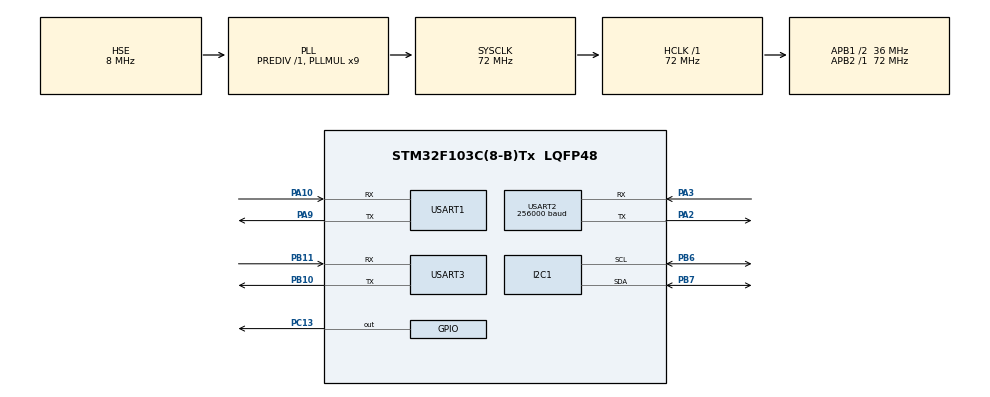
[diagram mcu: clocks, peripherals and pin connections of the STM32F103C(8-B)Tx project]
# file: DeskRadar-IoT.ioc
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Dma.Request0=USART2_RX
Dma.USART2_RX.0.Direction=DMA_PERIPH_TO_MEMORY
Dma.USART2_RX.0.Instance=DMA1_Channel6
Dma.USART2_RX.0.MemDataAlignment=DMA_MDATAALIGN_BYTE
Dma.USART2_RX.0.MemInc=DMA_MINC_ENABLE
Dma.USART2_RX.0.Mode=DMA_NORMAL
Dma.USART2_RX.0.PeriphDataAlignment=DMA_PDATAALIGN_BYTE
Dma.USART2_RX.0.PeriphInc=DMA_PINC_DISABLE
Dma.USART2_RX.0.Priority=DMA_PRIORITY_LOW
FREERTOS.BinarySemaphores01=testSem,Dynamic,NULL,Available
FREERTOS.Mutexes01=uartMutex,Dynamic,NULL,Available
FREERTOS.Queues01=radarQueue,16,RadarData_t,0,Dynamic,NULL,NULL
FREERTOS.Tasks01=RadarTask,24,128,StartRadarTask,Default,NULL,Dynamic,NULL,NULL;DisplayTask,16,128,StartDisplayTask,Default,NULL,Dynamic,NULL,NULL;CloudTask,8,256,StartCloudTask,Default,NULL,Dynamic,NULL,NULL
FREERTOS.configTOTAL_HEAP_SIZE=6144
I2C1.I2C_Mode=I2C_Fast
Mcu.Family=STM32F1
Mcu.Name=STM32F103C(8-B)Tx
Mcu.Package=LQFP48
NVIC.DMA1_Channel6_IRQn=true\:5\:0\:false\:false\:true\:true\:false\:true\:true
NVIC.PriorityGroup=NVIC_PRIORITYGROUP_4
NVIC.TIM4_IRQn=true\:15\:0\:false\:false\:true\:false\:false\:true\:true
NVIC.TimeBase=TIM4_IRQn
NVIC.TimeBaseIP=TIM4
NVIC.USART2_IRQn=true\:5\:0\:false\:false\:true\:true\:true\:true\:true
PA10.Mode=Asynchronous
PA10.Signal=USART1_RX
PA13.Mode=Serial_Wire
PA13.Signal=SYS_JTMS-SWDIO
PA14.Mode=Serial_Wire
PA14.Signal=SYS_JTCK-SWCLK
PA2.Mode=Asynchronous
PA2.Signal=USART2_TX
PA3.Mode=Asynchronous
PA3.Signal=USART2_RX
PA9.Mode=Asynchronous
PA9.Signal=USART1_TX
PB10.Mode=Asynchronous
PB10.Signal=USART3_TX
PB11.Mode=Asynchronous
PB11.Signal=USART3_RX
PB6.Mode=I2C
PB6.Signal=I2C1_SCL
PB7.Mode=I2C
PB7.Signal=I2C1_SDA
PC13-TAMPER-RTC.PinState=GPIO_PIN_SET
PC13-TAMPER-RTC.Signal=GPIO_Output
PD0-OSC_IN.Mode=HSE-External-Oscillator
PD0-OSC_IN.Signal=RCC_OSC_IN
PD1-OSC_OUT.Mode=HSE-External-Oscillator
PD1-OSC_OUT.Signal=RCC_OSC_OUT
ProjectManager.HeapSize=0x200
ProjectManager.StackSize=0x400
ProjectManager.TargetToolchain=CMake
RCC.AHBFreq_Value=72000000
RCC.APB1CLKDivider=RCC_HCLK_DIV2
RCC.APB1Freq_Value=36000000
RCC.APB1TimFreq_Value=72000000
RCC.APB2Freq_Value=72000000
RCC.APB2TimFreq_Value=72000000
RCC.HCLKFreq_Value=72000000
RCC.PLLMUL=RCC_PLL_MUL9
RCC.PLLSourceVirtual=RCC_PLLSOURCE_HSE
RCC.SYSCLKFreq_VALUE=72000000
RCC.SYSCLKSource=RCC_SYSCLKSOURCE_PLLCLK
RCC.USBFreq_Value=72000000
USART1.VirtualMode=VM_ASYNC
USART2.BaudRate=256000
USART2.VirtualMode=VM_ASYNC
USART3.VirtualMode=VM_ASYNC
VP_FREERTOS_VS_CMSIS_V2.Mode=CMSIS_V2
VP_SYS_VS_tim4.Mode=TIM4
board=custom

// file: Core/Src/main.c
/* USER CODE BEGIN Header */
/**
  ******************************************************************************
  * @file           : main.c
  * @brief          : Main program body
  ******************************************************************************
  * @attention
  *
  * Copyright (c) 2026 STMicroelectronics.
  * All rights reserved.
  *
  * This software is licensed under terms that can be found in the LICENSE file
  * in the root directory of this software component.
  * If no LICENSE file comes with this software, it is provided AS-IS.
  *
  ******************************************************************************
  */
/* USER CODE END Header */
#include "main.h"
#include "cmsis_os.h"
#include "dma.h"
#include "i2c.h"
#include "usart.h"
#include "gpio.h"

/* USER CODE BEGIN Includes */
#include "oled.h"
#include "radar.h"
#include "esp01s.h"
#include <stdio.h>

/* USER CODE END Includes */

void SystemClock_Config(void);
void MX_FREERTOS_Init(void);

int main(void)
{

  /* MCU Configuration--------------------------------------------------------*/

  /* Reset of all peripherals, Initializes the Flash interface and the Systick. */
  HAL_Init();

  /* Configure the system clock */
  SystemClock_Config();

  /* Initialize all configured peripherals */
  MX_GPIO_Init();
  MX_DMA_Init();
  MX_I2C1_Init();
  MX_USART1_UART_Init();
  MX_USART2_UART_Init();
  MX_USART3_UART_Init();
  /* USER CODE BEGIN 2 */
  HAL_Delay(50);
  OLED_Init();

  /* USER CODE END 2 */

  /* Init scheduler */
  osKernelInitialize();  /* Call init function for freertos objects (in cmsis_os2.c) */
  MX_FREERTOS_Init();

  /* Start scheduler */
  osKernelStart();

  /* We should never get here as control is now taken by the scheduler */

  /* Infinite loop */
  /* USER CODE BEGIN WHILE */
 uint32_t last_post_time = 0; // 记录上次发往云端的时间

  while (1)
  {
    /* USER CODE END WHILE */

  }
}

void SystemClock_Config(void)
{
  RCC_OscInitTypeDef RCC_OscInitStruct = {0};
  RCC_ClkInitTypeDef RCC_ClkInitStruct = {0};

  /** Initializes the RCC Oscillators according to the specified parameters
  * in the RCC_OscInitTypeDef structure.
  */
  RCC_OscInitStruct.OscillatorType = RCC_OSCILLATORTYPE_HSE;
  RCC_OscInitStruct.HSEState = RCC_HSE_ON;
  RCC_OscInitStruct.HSEPredivValue = RCC_HSE_PREDIV_DIV1;
  RCC_OscInitStruct.HSIState = RCC_HSI_ON;
  RCC_OscInitStruct.PLL.PLLState = RCC_PLL_ON;
  RCC_OscInitStruct.PLL.PLLSource = RCC_PLLSOURCE_HSE;
  RCC_OscInitStruct.PLL.PLLMUL = RCC_PLL_MUL9;
  if (HAL_RCC_OscConfig(&RCC_OscInitStruct) != HAL_OK)
  {
    Error_Handler();
  }

  /** Initializes the CPU, AHB and APB buses clocks
  */
  RCC_ClkInitStruct.ClockType = RCC_CLOCKTYPE_HCLK|RCC_CLOCKTYPE_SYSCLK
                              |RCC_CLOCKTYPE_PCLK1|RCC_CLOCKTYPE_PCLK2;
  RCC_ClkInitStruct.SYSCLKSource = RCC_SYSCLKSOURCE_PLLCLK;
  RCC_ClkInitStruct.AHBCLKDivider = RCC_SYSCLK_DIV1;
  RCC_ClkInitStruct.APB1CLKDivider = RCC_HCLK_DIV2;
  RCC_ClkInitStruct.APB2CLKDivider = RCC_HCLK_DIV1;

  if (HAL_RCC_ClockConfig(&RCC_ClkInitStruct, FLASH_LATENCY_2) != HAL_OK)
  {
    Error_Handler();
  }
}

void HAL_TIM_PeriodElapsedCallback(TIM_HandleTypeDef *htim)
{
  if (htim->Instance == TIM4)
  {
    HAL_IncTick();
  }
}

void Error_Handler(void)
{
  __disable_irq();
  while (1)
  {
  }
}

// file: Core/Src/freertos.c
/* USER CODE BEGIN Header */
/**
  ******************************************************************************
  * File Name          : freertos.c
  * Description        : Code for freertos applications
  ******************************************************************************
  * @attention
  *
  * Copyright (c) 2026 STMicroelectronics.
  * All rights reserved.
  *
  * This software is licensed under terms that can be found in the LICENSE file
  * in the root directory of this software component.
  * If no LICENSE file comes with this software, it is provided AS-IS.
  *
  ******************************************************************************
  */
/* USER CODE END Header */

#include "FreeRTOS.h"
#include "task.h"
#include "main.h"
#include "cmsis_os.h"

/* USER CODE BEGIN Includes */
#include <stdint.h>
#include <stdio.h>
#include "queue.h"
#include "oled.h"
#include "radar.h"
#include "esp01s.h"
/* USER CODE END Includes */

/* USER CODE BEGIN Variables */
typedef enum {
    SEC_SAFE = 0,    // 安全：无入侵
    SEC_SUSPECT,     // 疑似：雷达检测到目标，进入时间窗口确认
    SEC_ALERT        // 报警：确认入侵！
} Security_Status_t;

typedef struct {
    uint8_t raw_state;       // 雷达原始状态 (0/1/2/3)
    uint16_t dist;           // 目标距离 (cm)
    Security_Status_t sec_level; // 安防定性状态
} RadarData_t;

// 用于通知 CloudTask 立即上报告警的事件标志
volatile uint8_t g_need_instant_post = 0;

/* USER CODE END Variables */
/* Definitions for RadarTask */
osThreadId_t RadarTaskHandle;
const osThreadAttr_t RadarTask_attributes = {
  .name = "RadarTask",
  .stack_size = 128 * 4,
  .priority = (osPriority_t) osPriorityNormal,
};
/* Definitions for DisplayTask */
osThreadId_t DisplayTaskHandle;
const osThreadAttr_t DisplayTask_attributes = {
  .name = "DisplayTask",
  .stack_size = 128 * 4,
  .priority = (osPriority_t) osPriorityBelowNormal,
};
/* Definitions for CloudTask */
osThreadId_t CloudTaskHandle;
const osThreadAttr_t CloudTask_attributes = {
  .name = "CloudTask",
  .stack_size = 256 * 4,
  .priority = (osPriority_t) osPriorityLow,
};
/* Definitions for radarQueue */
osMessageQueueId_t radarQueueHandle;
const osMessageQueueAttr_t radarQueue_attributes = {
  .name = "radarQueue"
};
/* Definitions for uartMutex */
osMutexId_t uartMutexHandle;
const osMutexAttr_t uartMutex_attributes = {
  .name = "uartMutex"
};
/* Definitions for testSem */
osSemaphoreId_t testSemHandle;
const osSemaphoreAttr_t testSem_attributes = {
  .name = "testSem"
};

void StartRadarTask(void *argument);
void StartDisplayTask(void *argument);
void StartCloudTask(void *argument);

void MX_FREERTOS_Init(void); /* (MISRA C 2004 rule 8.1) */

void MX_FREERTOS_Init(void) {
  /* Create the mutex(es) */
  /* creation of uartMutex */
  uartMutexHandle = osMutexNew(&uartMutex_attributes);

  /* Create the semaphores(s) */
  /* creation of testSem */
  testSemHandle = osSemaphoreNew(1, 1, &testSem_attributes);

  /* Create the queue(s) */
  /* creation of radarQueue */
  radarQueueHandle = osMessageQueueNew (16, sizeof(RadarData_t), &radarQueue_attributes);

  /* Create the thread(s) */
  /* creation of RadarTask */
  RadarTaskHandle = osThreadNew(StartRadarTask, NULL, &RadarTask_attributes);

  /* creation of DisplayTask */
  DisplayTaskHandle = osThreadNew(StartDisplayTask, NULL, &DisplayTask_attributes);

  /* creation of CloudTask */
  CloudTaskHandle = osThreadNew(StartCloudTask, NULL, &CloudTask_attributes);

}

void StartRadarTask(void *argument)
{
  /* USER CODE BEGIN StartRadarTask */
  RadarData_t send_data = {0};
  uint8_t hit_count = 0; // 连续检出帧计数器
  Security_Status_t last_level = SEC_SAFE;
  Radar_Init();

  /* Infinite loop */
  for(;;)
  {

    if(frame_updated == 1)
    {
      frame_updated = 0;

      send_data.raw_state = g_radar_data.status;
      send_data.dist = g_radar_data.detect_dist;

      if(send_data.raw_state > 0)
      {
        if(hit_count < 15) hit_count++;
      }
      else
      {
        if(hit_count > 0) hit_count--;
      }
      if(hit_count >= 5)
      {
        send_data.sec_level = SEC_ALERT;
                // 首次切入报警状态时，立即触发云端紧急上报
        if(last_level != SEC_ALERT)
          {
            g_need_instant_post = 1;
          }
      }
        else if(hit_count > 0)
        {
          send_data.sec_level = SEC_SUSPECT;
        }
        else
        {
          send_data.sec_level = SEC_SAFE;
        }

      last_level = send_data.sec_level;

      osMessageQueuePut(radarQueueHandle, &send_data, 0, 0);
    }

    osDelay(20);

  }
  /* USER CODE END StartRadarTask */
}

void StartDisplayTask(void *argument)
{
  /* USER CODE BEGIN StartDisplayTask */
  RadarData_t recv_data = {0};
  char disp_buf[32];
  osStatus_t status;

  OLED_NewFrame();
  OLED_PrintString(0, 0, "[ SEC SYSTEM ]", &font16x16, OLED_COLOR_NORMAL);
  OLED_PrintString(0, 16, "Arming System...", &font16x16, OLED_COLOR_NORMAL);
  OLED_ShowFrame();
  /* Infinite loop */
  for(;;)
  {
    status = osMessageQueueGet(radarQueueHandle, &recv_data, NULL, 100);
    OLED_NewFrame();
    OLED_PrintString(0,0, "[ SEC SYSTEM ]",&font16x16, OLED_COLOR_NORMAL);

    if(status==osOK)
    {

    if(recv_data.sec_level == SEC_SAFE)
    {
       OLED_PrintString(0, 16, "Status: SAFE", &font16x16, OLED_COLOR_NORMAL);
       OLED_PrintString(0, 32, "Dist  : --- cm", &font16x16, OLED_COLOR_NORMAL);
       HAL_GPIO_WritePin(GPIOC, GPIO_PIN_13, GPIO_PIN_SET);

    }
    else if (recv_data.sec_level == SEC_SUSPECT)
    {
      OLED_PrintString(0, 16, "Status: LOCKING", &font16x16, OLED_COLOR_NORMAL);
      sprintf(disp_buf, "Dist  : %-3d cm", recv_data.dist);
      OLED_PrintString(0, 32, disp_buf, &font16x16, OLED_COLOR_NORMAL);
      HAL_GPIO_WritePin(GPIOC, GPIO_PIN_13, GPIO_PIN_SET);
    }
    else if (recv_data.sec_level == SEC_ALERT)
    {
      OLED_PrintString(0, 16, "! INTRUSION !", &font16x16, OLED_COLOR_NORMAL);
      sprintf(disp_buf, "Target: %-3d cm", recv_data.dist);
      OLED_PrintString(0, 32, disp_buf, &font16x16, OLED_COLOR_NORMAL);
      // 告警时板载 LED 快速翻转闪烁
      HAL_GPIO_WritePin(GPIOC, GPIO_PIN_13, GPIO_PIN_RESET);
    }
    }
    else
    {
      // 队列暂时没有数据时，明确提示等待数据
      OLED_PrintString(0, 16, "Sensor Paused", &font16x16, OLED_COLOR_NORMAL);
    }

    OLED_ShowFrame();

  }

  /* USER CODE END StartDisplayTask */
}

void StartCloudTask(void *argument)
{
  /* USER CODE BEGIN StartCloudTask */
  ESP01S_Init_Wifi();

  /* Infinite loop */

    for(;;)
    {
        if(g_cloud_online)
        {
          uint16_t snap_dist = g_radar_data.detect_dist;
          uint8_t snap_status = g_radar_data.status;
          uint8_t alarm_val = (snap_status > 0) ? 1 : 0;

          ESP01S_Post_Data(snap_dist, snap_status, alarm_val);
        }

        osDelay(1000);
    }

  /* USER CODE END StartCloudTask */
}
